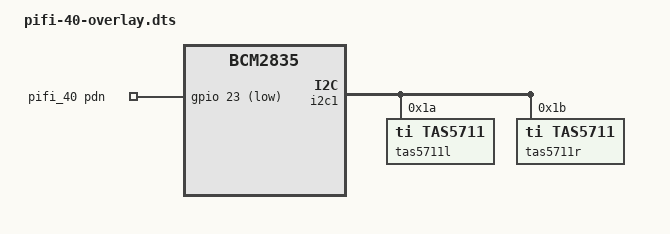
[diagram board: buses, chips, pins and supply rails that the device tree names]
// Definitions for PiFi-40 Amp
/dts-v1/;
/plugin/;
#include <dt-bindings/gpio/gpio.h>
/ {
	compatible = "brcm,bcm2835";

	fragment@0 {
		target = <&i2s_clk_producer>;
		__overlay__ {
			status = "okay";
		};
	};

	fragment@1 {
		target = <&i2c1>;
		__overlay__ {
			#address-cells = <1>;
			#size-cells = <0>;
			status = "okay";

			tas5711l: audio-codec@1a {
				compatible = "ti,tas5711";
				reg = <0x1a>;
				#sound-dai-cells = <0>;
				sound-name-prefix = "Left";
				status = "okay";
			};

			tas5711r: audio-codec@1b {
				compatible = "ti,tas5711";
				reg = <0x1b>;
				#sound-dai-cells = <0>;
				sound-name-prefix = "Right";
				status = "okay";
			};
		};
	};

	fragment@2 {
		target = <&sound>;
		pifi_40: __overlay__ {
			compatible = "pifi,pifi-40";
			audio-codec = <&tas5711l &tas5711r>;
			i2s-controller = <&i2s_clk_producer>;
			pdn-gpios = <&gpio 23 1>;
			status = "okay";
		};
	};
};
